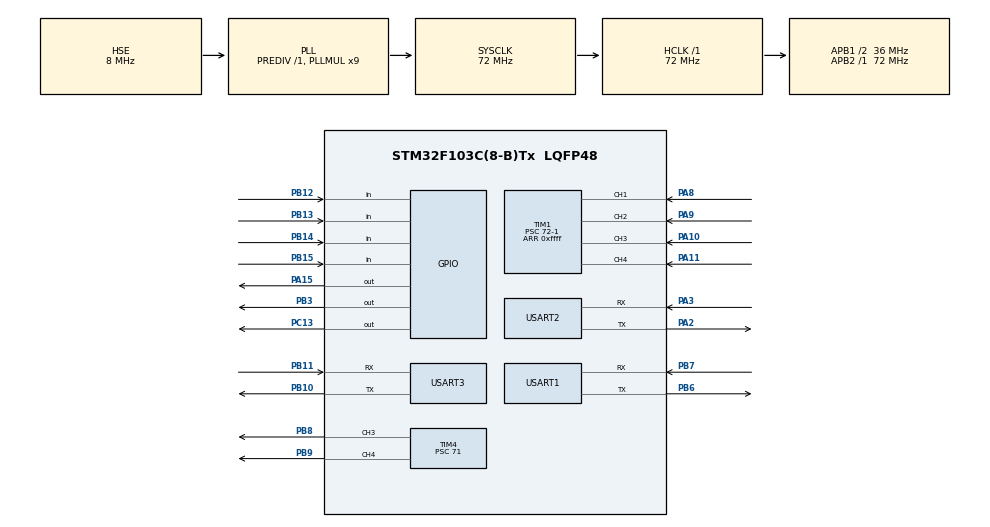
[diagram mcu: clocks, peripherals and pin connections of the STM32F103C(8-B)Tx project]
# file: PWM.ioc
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Dma.Request0=USART2_RX
Dma.Request1=USART2_TX
Dma.USART2_RX.0.Direction=DMA_PERIPH_TO_MEMORY
Dma.USART2_RX.0.Instance=DMA1_Channel6
Dma.USART2_RX.0.MemDataAlignment=DMA_MDATAALIGN_BYTE
Dma.USART2_RX.0.MemInc=DMA_MINC_ENABLE
Dma.USART2_RX.0.Mode=DMA_CIRCULAR
Dma.USART2_RX.0.PeriphDataAlignment=DMA_PDATAALIGN_BYTE
Dma.USART2_RX.0.PeriphInc=DMA_PINC_DISABLE
Dma.USART2_RX.0.Priority=DMA_PRIORITY_LOW
Dma.USART2_TX.1.Direction=DMA_MEMORY_TO_PERIPH
Dma.USART2_TX.1.Instance=DMA1_Channel7
Dma.USART2_TX.1.MemDataAlignment=DMA_MDATAALIGN_BYTE
Dma.USART2_TX.1.MemInc=DMA_MINC_ENABLE
Dma.USART2_TX.1.Mode=DMA_CIRCULAR
Dma.USART2_TX.1.PeriphDataAlignment=DMA_PDATAALIGN_BYTE
Dma.USART2_TX.1.PeriphInc=DMA_PINC_DISABLE
Dma.USART2_TX.1.Priority=DMA_PRIORITY_LOW
Mcu.Family=STM32F1
Mcu.Name=STM32F103C(8-B)Tx
Mcu.Package=LQFP48
NVIC.DMA1_Channel6_IRQn=true\:0\:0\:false\:false\:true\:false\:true\:true
NVIC.DMA1_Channel7_IRQn=true\:0\:0\:false\:false\:true\:false\:true\:true
NVIC.PriorityGroup=NVIC_PRIORITYGROUP_4
NVIC.TIM1_CC_IRQn=true\:1\:0\:true\:false\:true\:true\:true\:true
NVIC.TIM3_IRQn=true\:0\:0\:false\:false\:true\:true\:true\:true
NVIC.TIM4_IRQn=true\:0\:0\:false\:false\:true\:true\:true\:true
NVIC.USART1_IRQn=true\:0\:0\:false\:false\:true\:true\:true\:true
NVIC.USART3_IRQn=true\:0\:0\:false\:false\:true\:true\:true\:true
PA10.GPIO_PuPd=GPIO_PULLDOWN
PA10.Signal=S_TIM1_CH3
PA11.GPIO_PuPd=GPIO_PULLDOWN
PA11.Signal=S_TIM1_CH4
PA13.Mode=Serial_Wire
PA13.Signal=SYS_JTMS-SWDIO
PA14.Mode=Serial_Wire
PA14.Signal=SYS_JTCK-SWCLK
PA15.Signal=GPIO_Output
PA2.Mode=Asynchronous
PA2.Signal=USART2_TX
PA3.Mode=Asynchronous
PA3.Signal=USART2_RX
PA8.GPIO_PuPd=GPIO_PULLDOWN
PA8.Signal=S_TIM1_CH1
PA9.GPIO_PuPd=GPIO_PULLDOWN
PA9.Signal=S_TIM1_CH2
PB10.Mode=Asynchronous
PB10.Signal=USART3_TX
PB11.Mode=Asynchronous
PB11.Signal=USART3_RX
PB12.GPIO_PuPd=GPIO_PULLDOWN
PB12.Signal=GPIO_Input
PB13.GPIO_PuPd=GPIO_PULLDOWN
PB13.Signal=GPIO_Input
PB14.GPIO_PuPd=GPIO_PULLDOWN
PB14.Signal=GPIO_Input
PB15.GPIO_PuPd=GPIO_PULLDOWN
PB15.Signal=GPIO_Input
PB3.Signal=GPIO_Output
PB6.GPIO_Mode=GPIO_MODE_AF_PP
PB6.Mode=Asynchronous
PB6.Signal=USART1_TX
PB7.Mode=Asynchronous
PB7.Signal=USART1_RX
PB8.Signal=S_TIM4_CH3
PB9.Signal=S_TIM4_CH4
PC13-TAMPER-RTC.Signal=GPIO_Output
PD0-OSC_IN.Mode=HSE-External-Oscillator
PD0-OSC_IN.Signal=RCC_OSC_IN
PD1-OSC_OUT.Mode=HSE-External-Oscillator
PD1-OSC_OUT.Signal=RCC_OSC_OUT
ProjectManager.HeapSize=0x200
ProjectManager.StackSize=0x400
ProjectManager.TargetToolchain=MDK-ARM V5.32
RCC.AHBFreq_Value=72000000
RCC.APB1CLKDivider=RCC_HCLK_DIV2
RCC.APB1Freq_Value=36000000
RCC.APB1TimFreq_Value=72000000
RCC.APB2Freq_Value=72000000
RCC.APB2TimFreq_Value=72000000
RCC.HCLKFreq_Value=72000000
RCC.PLLMUL=RCC_PLL_MUL9
RCC.PLLSourceVirtual=RCC_PLLSOURCE_HSE
RCC.SYSCLKFreq_VALUE=72000000
RCC.SYSCLKSource=RCC_SYSCLKSOURCE_PLLCLK
RCC.USBFreq_Value=72000000
SH.S_TIM1_CH1.0=TIM1_CH1,Input_Capture1_from_TI1
SH.S_TIM1_CH2.0=TIM1_CH2,Input_Capture2_from_TI2
SH.S_TIM1_CH3.0=TIM1_CH3,Input_Capture3_from_TI3
SH.S_TIM1_CH4.0=TIM1_CH4,Input_Capture4_from_TI4
SH.S_TIM4_CH3.0=TIM4_CH3,PWM Generation3 CH3
SH.S_TIM4_CH4.0=TIM4_CH4,PWM Generation4 CH4
TIM1.AutoReloadPreload=TIM_AUTORELOAD_PRELOAD_DISABLE
TIM1.Channel-Input_Capture1_from_TI1=TIM_CHANNEL_1
TIM1.Channel-Input_Capture2_from_TI2=TIM_CHANNEL_2
TIM1.Channel-Input_Capture3_from_TI3=TIM_CHANNEL_3
TIM1.Channel-Input_Capture4_from_TI4=TIM_CHANNEL_4
TIM1.Period=0xffff
TIM1.Prescaler=72-1
TIM3.AutoReloadPreload=TIM_AUTORELOAD_PRELOAD_ENABLE
TIM3.Period=1000
TIM3.Prescaler=71
TIM4.AutoReloadPreload=TIM_AUTORELOAD_PRELOAD_ENABLE
TIM4.Channel-PWM\ Generation3\ CH3=TIM_CHANNEL_3
TIM4.Channel-PWM\ Generation4\ CH4=TIM_CHANNEL_4
TIM4.Period=1000
TIM4.Prescaler=71
USART1.VirtualMode=VM_ASYNC
USART2.VirtualMode=VM_ASYNC
USART3.VirtualMode=VM_ASYNC
VP_TIM2_VS_ClockSourceINT.Mode=Internal
VP_TIM3_VS_ClockSourceINT.Mode=Internal
VP_TIM4_VS_ClockSourceINT.Mode=Internal
board=custom

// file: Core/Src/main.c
/* USER CODE BEGIN Header */
/**
  ******************************************************************************
  * @file           : main.c
  * @brief          : Main program body
  ******************************************************************************
  * @attention
  *
  * Copyright (c) 2022 STMicroelectronics.
  * All rights reserved.
  *
  * This software is licensed under terms that can be found in the LICENSE file
  * in the root directory of this software component.
  * If no LICENSE file comes with this software, it is provided AS-IS.
  *
  ******************************************************************************
  */
/* USER CODE END Header */
#include "main.h"
#include "dma.h"
#include "tim.h"
#include "usart.h"
#include "gpio.h"

/* USER CODE BEGIN Includes */
#include"stdio.h"
#include"stdint.h"
#include"string.h"
#include"stdlib.h"
#include"oled.h"
/* USER CODE END Includes */

/* USER CODE BEGIN PD */
uint8_t my_re_buf1[24]={0x00};
uint8_t rx_buf1[1]={0};
uint8_t rx_buf2[1]={0};
uint8_t rx_buf3[1]={0};
uint8_t openmvdata[8]={0x00};
uint8_t data_static2[6]={255,255,255,255,255,255};
volatile uint32_t G_Systime;//定时器中断中计时
int temp=0;
/* USER CODE END PD */

/* USER CODE BEGIN PM */
struct gesture
{
	float angr;//角度
	float angx;
	float angy;
	float w;//角速度
	float v1;//左轮速度
	float v2;//右轮速度
	float x1;//左轮位移
	float x2;//右轮位移
	float x;//总位移
};

struct pidstruct
{
	float kp,ki,kd;
	float p ,i ,d;
	float thisde, lastde;
};  //thisde当前
struct pidstruct initPID(float kp, float ki, float kd, struct pidstruct e)//初始化PID
{
	e.kp=kp;
	e.ki=ki;
	e.kd=kd;
	e.p=0;//有必要时不用初始化给0
	e.i=0;
	e.d=0;
	e.lastde =0;
	e.thisde=0;
	return e;
}
/* USER CODE END PM */

/* USER CODE BEGIN PV */
struct gesture gest;//当前姿态
struct gesture tgest;//目标姿态
struct gesture globalgest;//初始姿态
struct pidstruct angrpid;//角度PID
struct pidstruct angxpid;//x轴角度PID
struct pidstruct angypid;
struct pidstruct angzpid;
struct pidstruct x1pid;//位移PID
struct pidstruct x2pid;
struct pidstruct v1pid;
struct pidstruct v2pid;

float PWM1;
float PWM2;
float PWM;
int En=1;//小车运行停止
int Enflag=1;    //控制轮子停止后反转保证停稳
int Enflag2=1;
int startpid=1;

int mark=0;//小车停稳
//char a[50];
//int count=0;
/* USER CODE END PV */

void SystemClock_Config(void);
/* USER CODE BEGIN PFP */
void SystemClock_Config(void);
void Wheel(int num,int pwm);
void My_Delay_1ms(int t);
int fputc(int ch, FILE *f)
{
	HAL_UART_Transmit(&huart1,(uint8_t*)&ch,1,10);
	return ch;
}

float PID(struct pidstruct *e,float err, float outhigh , float outlow)//返回PID的值 outhigh和outlow是限幅
{
	float out;
	e->thisde=err;
	e->p = e->kp * e->thisde ;
	e->i = e->ki * (e->i+e->lastde );
	e->d = e->kd * (e->thisde -e->lastde );
	e->lastde = e->thisde ;
	out=e->p+e->i +e->d;
	if(out>outhigh ) out=outhigh ;//限幅
	if(out<outlow ) out =outlow ;
	return out;
}

void My_Delay_1ms(int t)
{
	uint32_t InitTime=G_Systime ;
	while(G_Systime <InitTime +t)
	{
	}
}

void Stop()
{
//	if(mark==0)
//	{
//	Wheel(1,-60);
//	Wheel(0,0);
//	My_Delay_1ms(500);
//	mark=1;
//	}
//	if(mark==1)
//	{
//	Wheel(1,0);
//	Wheel(0,0);
//	}
     Wheel(1,-30);
     Wheel(0,10);
//	My_Delay_1ms (500);
//    HAL_GPIO_TogglePin (GPIOC,GPIO_PIN_13);
}

void Move_pid()
{
	float err1,err2,angxerr;
    angxerr =tgest.angx -gest.angx ;
	PWM=PID (&angxpid ,angxerr ,250,-250);
	err1=tgest.v1-gest.v1;
	PWM1=PID(&v1pid,err1,1000,-1000);
	err2=tgest.v2 -gest.v2 ;
	PWM2=PID(&v2pid,err2,1000,-1000);
	Wheel(1,PWM1);
	Wheel(0,PWM2);
	mark=0;//小车停稳标志重置
}
void Delay_stop(int target_delaytime)  //放在定时器中断中1ms进入一次，只能连续使用一次
{
	static int dtime;//dtime是延时停车
    if(mark==0)
	{
        dtime++;
		if(dtime<target_delaytime )
		{
			HAL_GPIO_TogglePin (GPIOC,GPIO_PIN_13);
			Move_pid ();
		}
		else
		{
			mark=1;
			dtime =0;
		}
	}
	if(mark==1)
	{
		Stop();
	}

}

void DataGet1(uint8_t *data)//蓝牙
{
//	int en,i=0;
//	char b[1];
//	b[0]=data[0];
//	en=atoi(b);
//	if(en==0)
//	{
//		i++;
//		En=i%2;
//	}
//	if(En==1)
//	{
//	HAL_GPIO_TogglePin (GPIOC,GPIO_PIN_13);
//	}
	int en;
	static int i;
	en=(int)(data[0]-'0');
	if(en==0)
	{
		i++;
		En=i%2;
		startpid=0;
		Enflag=0;
	}
}
void DataGet2(uint8_t *data)//陀螺仪
{
	static int flag=0;
	if(data[0]==0x55&&flag ==0)
	{
		HAL_UART_Receive_DMA (&huart2 ,rx_buf2 ,11);
		flag=1;
	}
	else if(data [0]!=0x55&&flag==0)
	{
		HAL_UART_Receive_IT (&huart2,rx_buf2 ,1);
	}
	else if(flag==1)
	{
		HAL_UART_Receive_DMA (&huart2,rx_buf2 ,11);
	}

}
void DataGet3(uint8_t *data)//
{
	//printf("%c",data[0]);
	//HAL_GPIO_TogglePin (GPIOC,GPIO_PIN_13);
}
void HAL_UART_RxCpltCallback(UART_HandleTypeDef *huart)//串口中断
{
	if(huart == &huart1)
	{
		DataGet1(rx_buf1);
		HAL_UART_AbortReceive_IT(&huart1);
		HAL_UART_Receive_IT(&huart1, rx_buf1, 1);
	}
	if(huart == &huart2)
	{
		DataGet2(rx_buf2);
		HAL_UART_AbortReceive_IT(&huart2);
		HAL_UART_Receive_IT(&huart2, rx_buf2, 1);
	}
	if(huart == &huart3)
	{
		static  char a[20];
        static  int count=0;

		DataGet3(rx_buf3);
		//printf("a=%c\n",rx_buf3[0]);
		if(rx_buf3[0]=='\n')
		{
			a[count]='\0';
			gest.angx=atof(a);
			count=0;
			a[0]='\0';
		}
		else if(rx_buf3[0]=='a')
		{
			En=0;
		    Enflag=0;
            temp=1;
		  HAL_GPIO_TogglePin (GPIOC,GPIO_PIN_13);
		}
//		else if(rx_buf3[0]=='w')
//		{
//			En=2;
//			Enflag2=0;
//			HAL_GPIO_TogglePin (GPIOC,GPIO_PIN_13);
//		}
		else
		{
			a[count]=rx_buf3[0];
			count++;
		}
		HAL_UART_AbortReceive_IT(&huart3);//继续接受
		HAL_UART_Receive_IT(&huart3, rx_buf3, 1);
	}
}

void HAL_TIM_IC_CaptureCallback(TIM_HandleTypeDef *htim)//输入捕获中断
{

	static float catch1[3],catch2[3];
	//int judge1,judge2;
	if(htim==&htim1&&htim->Channel ==HAL_TIM_ACTIVE_CHANNEL_3)//左轮
	{
		//judge1 =HAL_GPIO_ReadPin (GPIOB,GPIO_PIN_14);
		//printf("judge1=%d\r\n",judge1 );
		catch1[1]=HAL_TIM_ReadCapturedValue (htim,TIM_CHANNEL_3 );
		catch1[2]=catch1[1]-catch1[0];
		if(catch1[2]<=0)
		{
			catch1[2]+=0xffff;
		}

		catch1[0]=catch1[1];

		//if(judge1==1)
		if(HAL_GPIO_ReadPin (GPIOB,GPIO_PIN_14))
		{
			gest.x1+=0.52f;
			gest.v1=644429.2/catch1[2];
			//printf("x1=%f\r\n",gest.x1);

		}
		//else if(judge1==0)
		else
		{
//			HAL_GPIO_TogglePin(GPIOC,GPIO_PIN_13);
			gest.x1-=0.52f;
			gest.v1=-644429.2/catch1[2];
			//printf("x1=%f\r\n",gest.x2);

		}

	}
	if(htim==&htim1&&htim->Channel ==HAL_TIM_ACTIVE_CHANNEL_4)//右轮
	{
		//judge2 =HAL_GPIO_ReadPin (GPIOB,GPIO_PIN_15);
		catch2[1]=HAL_TIM_ReadCapturedValue (htim,TIM_CHANNEL_4 );
		catch2[2]=catch2[1]-catch2[0];
		if(catch2[2]<=0)
		{
			catch2[2]+=0xffff;
		}
		catch2[0]=catch2[1];

		if(HAL_GPIO_ReadPin (GPIOB,GPIO_PIN_15))
		{
			gest.x2-=0.52f;
			gest.v2=-644429.2/catch2[2];
			//printf("v2=%f\r\n",gest.v2);
		}
		else
		{
			gest.x2+=0.52f;
			gest.v2=644429.2/catch2[2];

			//printf("v2=%f\r\n",gest.v2);
		}

	}
     gest.x=(gest.x1+gest.x2)/2;
}

void HAL_TIM_PeriodElapsedCallback(TIM_HandleTypeDef *htim)//定时器中断（1ms） （callback回调函数 谨慎用printf 1ms进一次 不要超过字节）
{
    static int time,stoptime,delaytime;
	static int Enfla1,Enfla2;
	G_Systime++;
	//int i;
//	float err1,err2,angxerr;
//	angxerr =tgest.angx -gest.angx ;
//	PWM=PID (&angxpid ,angxerr ,250,-250);
//	err1=tgest.v1-gest.v1;
//	PWM1=PID(&v1pid,err1,1000,-1000);
//    //Wheel(1,PWM1);
//	err2=tgest.v2 -gest.v2 ;
//	PWM2=PID(&v2pid,err2,1000,-1000);

	if(htim == (&htim4))
	{

		if(En==1)
		{
			if(startpid==0)
			{
			v1pid=initPID(10.5,1,0.01,v1pid);
            v2pid=initPID(11,1,0,v2pid);
            angxpid=initPID(1,0,0,angxpid);
			startpid =1;
            Move_pid ();
			}
		    else
			{
            Move_pid();
			}
		}
	    else if(En==0)
		{
//      //    Stop(En,1000);
//			if(Enfla1==0){
////
////			angxerr =tgest.angx -gest.angx ;
////		   PWM=PID (&angxpid ,angxerr ,250,-250);
////		   err1=tgest.v1-gest.v1;
////		   PWM1=PID(&v1pid,err1,1000,-1000);
////            //Wheel(1,PWM1);
////		   err2=tgest.v2 -gest.v2 ;
////		    PWM2=PID(&v2pid,err2,1000,-1000);
//            Move_pid();
////			Wheel(1,PWM1);
////			Wheel(0,PWM2);
//			delaytime++;
//			}
//		    if(delaytime>=500)
//				{
//                if(Enflag==0)
//				{
//					Enfla1=1;
//					Wheel(1,-60);
//					Wheel(0,0);
//					stoptime++;
//					if(stoptime==500)
//						{
//							stoptime =0;
//							Enflag=1;

//						}
//				}
//			    else
//		        {
//				Wheel(1,0);
//				Wheel(0,0);
//		        }

//	    	}
//      Stop();
			Delay_stop (2000);
		}

		else if(En==2)
		{

			if(Enfla2==0)
			{
			Move_pid();
//			Wheel(1,PWM1);
//			Wheel(0,PWM2);
			delaytime++;
			}
		    if(delaytime>=650)
			{
                if(Enflag2==0)
				{
					Enfla2=1;
					Wheel(1,-60);
					Wheel(0,0);
					stoptime++;
					if(stoptime==400)
						{
							stoptime =0;
							Enflag2=1;

						}
				}
			    else
		        {
				Wheel(1,0);
				Wheel(0,0);
				time++;
				  if(time>=5000)
				  {

			   v1pid=initPID(10.5,1,0.01,v1pid);
               v2pid=initPID(11,1,0,v2pid);
			   angxpid=initPID(1,0,0,angxpid);

			   Move_pid();
//			   Wheel(1,PWM1);
//			   Wheel(0,PWM2);

					  time=0;
                      En=1;
					  delaytime=0;

					  Enfla2=0;
				  }
		        }

	    	}

//			Wheel(1,0);
//			Wheel(0,0);
//			time++;
//		if(time==5000)
//		{
//				En=1;
//				time=0;
//		}
//		}

//			Wheel(1,PWM1);
//			Wheel(0,PWM2);
		//Move(En,PWM1,PWM2);
	}
   }

}

/* USER CODE END PFP */

/* USER CODE BEGIN 0 */

#define LENGTH 4     //接受缓冲区大小
//uint8_t	RxBuffer[LENGTH];   //接受缓冲区
//uint8_t RxFlag = 0;       //接收完成标志；0表示接受未完成，1表示接收完成

/* USER CODE END 0 */

int main(void)
{
  /* USER CODE BEGIN 1 */
//  v1pid=initPID(9,1,0,v1pid);
//  v2pid=initPID(9,1,0,v2pid);

  v1pid=initPID(10.5,1,0.01,v1pid);
  v2pid=initPID(11,1,0,v2pid);
  angxpid=initPID(1,0,0,angxpid);
	  // angxpid=initPID(0.8,0.1,0.001,angxpid);//tgest.v=400
 //angxpid=initPID(1.3,0.12,0.01,angxpid);//tgest.v=800
  //angxpid=initPID(1,0,0,angxpid);//tgest.v=800
//  angypid =initPID (0,0,0,angypid);
  /* USER CODE END 1 */

  /* MCU Configuration--------------------------------------------------------*/

  /* Reset of all peripherals, Initializes the Flash interface and the Systick. */
  HAL_Init();

  /* Configure the system clock */
  SystemClock_Config();

  /* Initialize all configured peripherals */
  MX_GPIO_Init();
  MX_TIM4_Init();
  MX_TIM1_Init();
  MX_USART1_UART_Init();
  MX_DMA_Init();
  MX_TIM2_Init();
  MX_USART2_UART_Init();
  MX_USART3_UART_Init();
  MX_TIM3_Init();
  OLED_Init();
  /* USER CODE BEGIN 2 */
  HAL_GPIO_WritePin(GPIOC,GPIO_PIN_13,GPIO_PIN_SET);
    HAL_UART_Receive_IT (&huart1,rx_buf1 ,1);//串口 IT中断
    HAL_UART_Receive_IT (&huart2,rx_buf2 ,1);
	HAL_UART_Receive_IT (&huart3,rx_buf3 ,1);

//    HAL_TIM_Base_Start_IT (&htim4);//定时器中断初始化

	HAL_TIM_PWM_Start(&htim4,TIM_CHANNEL_3);//pwm
	HAL_TIM_PWM_Start(&htim4,TIM_CHANNEL_4);

    HAL_TIM_IC_Start_IT (&htim1,TIM_CHANNEL_3 );//输入捕获
	HAL_TIM_IC_Start_IT (&htim1,TIM_CHANNEL_4 );
	HAL_TIM_Base_Start_IT (&htim4);//定时器中断初始化
	HAL_TIM_Base_Start_IT (&htim3);//定时器中断初始化
//HAL_UART_Transmit_DMA (&huart1,"Uart System Init\r\n",sizeof ("Uart System Init\r\n"));
//HAL_UART_Receive_DMA(&huart1,buf,3);
	//HAL_UART_Receive_DMA (&huart2 ,rx_buf2 ,11); //一次11个满了进中断

  /* USER CODE END 2 */

  /* Infinite loop */
  /* USER CODE BEGIN WHILE */
  while (1)
  {
	tgest.angx =0;
	tgest.v1=400+PWM;
	tgest.v2 =400-PWM;

//	 OLED_ShowString(40,0,"MPU6050",16);
//	if(En==1)
//	{
//	tgest.v1=800+PWM;
//	tgest.v2 =800-PWM;
//	}
//	else
//	{
//	tgest.v1=0;
//	tgest.v2=0;
//	}
////	Wheel(1,1000);
////	Wheel(0,1000);
 //   printf("a=%c\n",rx_buf3[0]);
//	printf("gest.angr=%f\r\n",);
//	printf("--------------------\n");
//	printf("PWM1=%f\r\n",PWM1);
//	printf("PWM2=%f\r\n",PWM2);
//	printf("v1=%f\r\n",gest.v1);
//	printf("v2=%f\r\n",gest.v2);
 printf("%f,%f,%.2f\n",gest.v1,gest.v2,gest.angx);
//	printf("%f\n",gest.angx);
//	printf("%d\n",temp);
//	printf("%c",temp1[0]);
  //  printf("%f",PWM);
//	    printf("v1=%f\r\n",gest.v1);
//	    printf("PWM1=%f\r\n",PWM1 );
//		err2=tgest.v2 -gest.v2 ;
//		PWM2=PID(&v2pid,err2,1000,-1000);
//		Wheel(0,PWM2);
//	  	HAL_GPIO_TogglePin (GPIOC,GPIO_PIN_13);
       // printf("PWM2=%f\r\n",PWM2);
	  //	printf("v2=%f\r\n",gest.v2);

    /* USER CODE END WHILE */

    /* USER CODE BEGIN 3 */
//	  	__HAL_TIM_SET_COMPARE(&htim4,TIM_CHANNEL_3,500);
//		__HAL_TIM_SET_COMPARE(&htim4,TIM_CHANNEL_4,500);
//		HAL_GPIO_WritePin(GPIOB,GPIO_PIN_3,0);
//		HAL_GPIO_WritePin(GPIOA,GPIO_PIN_15,1);

//
//	for(i=-1000;i<=1000;i++)
//	  {
//	  Wheel(1,i);
//	  HAL_Delay(20);
//	  }
//
//        HAL_UART_Transmit(&huart1, (uint8_t *)"hello windows!!!\r\n", 16 , HAL_MAX_DELAY);
//        HAL_Delay(1000);
//	  if(RxFlag == 1)
//	  {
//		   HAL_UART_Transmit(&huart1,(uint8_t *)"Recevie Success!\n",17,HAL_MAX_DELAY);
//		   break;
//	  }

//	 Wheel(1,500);
//	 Wheel(0,500);
   }

  /* USER CODE END 3 */
}

void SystemClock_Config(void)
{
  RCC_OscInitTypeDef RCC_OscInitStruct = {0};
  RCC_ClkInitTypeDef RCC_ClkInitStruct = {0};

  /** Initializes the RCC Oscillators according to the specified parameters
  * in the RCC_OscInitTypeDef structure.
  */
  RCC_OscInitStruct.OscillatorType = RCC_OSCILLATORTYPE_HSE;
  RCC_OscInitStruct.HSEState = RCC_HSE_ON;
  RCC_OscInitStruct.HSEPredivValue = RCC_HSE_PREDIV_DIV1;
  RCC_OscInitStruct.HSIState = RCC_HSI_ON;
  RCC_OscInitStruct.PLL.PLLState = RCC_PLL_ON;
  RCC_OscInitStruct.PLL.PLLSource = RCC_PLLSOURCE_HSE;
  RCC_OscInitStruct.PLL.PLLMUL = RCC_PLL_MUL9;
  if (HAL_RCC_OscConfig(&RCC_OscInitStruct) != HAL_OK)
  {
    Error_Handler();
  }

  /** Initializes the CPU, AHB and APB buses clocks
  */
  RCC_ClkInitStruct.ClockType = RCC_CLOCKTYPE_HCLK|RCC_CLOCKTYPE_SYSCLK
                              |RCC_CLOCKTYPE_PCLK1|RCC_CLOCKTYPE_PCLK2;
  RCC_ClkInitStruct.SYSCLKSource = RCC_SYSCLKSOURCE_PLLCLK;
  RCC_ClkInitStruct.AHBCLKDivider = RCC_SYSCLK_DIV1;
  RCC_ClkInitStruct.APB1CLKDivider = RCC_HCLK_DIV2;
  RCC_ClkInitStruct.APB2CLKDivider = RCC_HCLK_DIV1;

  if (HAL_RCC_ClockConfig(&RCC_ClkInitStruct, FLASH_LATENCY_2) != HAL_OK)
  {
    Error_Handler();
  }
}

/* USER CODE BEGIN 4 */

void Wheel(int num,int pwm)
{
	int direct;
	if(pwm>1000)
	{
		pwm=1000;
	}
	if(pwm<-1000)
	{
		pwm=-1000;
	}
	if(pwm>=0)
	{
		direct=1;
	}
	else
	{
		direct=0;
	}
	switch(num){
		case 1:
		switch(direct){
		    case 1:
			__HAL_TIM_SET_COMPARE(&htim4,TIM_CHANNEL_3,pwm);
			HAL_GPIO_WritePin(GPIOB,GPIO_PIN_3,GPIO_PIN_RESET);
			break;
		    case 0:
			__HAL_TIM_SET_COMPARE(&htim4,TIM_CHANNEL_3,1000+pwm);
			HAL_GPIO_WritePin(GPIOB,GPIO_PIN_3,GPIO_PIN_SET);
			break;
	      }
	     break;
		case 0:
			switch(direct){
			case 1:
			__HAL_TIM_SET_COMPARE(&htim4,TIM_CHANNEL_4,1000-pwm);
			HAL_GPIO_WritePin(GPIOA,GPIO_PIN_15,GPIO_PIN_SET);
				break;
			case 0:
			__HAL_TIM_SET_COMPARE(&htim4,TIM_CHANNEL_4,-pwm);
			HAL_GPIO_WritePin(GPIOA,GPIO_PIN_15,GPIO_PIN_RESET);
				break;

            }
	      break;
		}
}
//void HAL_UART_RxCpltCallback(UART_HandleTypeDef *huart)  //串口接收中断回调函数
//{
//	if(huart->Instance == USART1)   //判断发生接收中断的串口
//	{
//		RxFlag=1;   //置为接收完成标志
//	}
//}

/* USER CODE END 4 */

void Error_Handler(void)
{
  __disable_irq();
  while (1)
  {
  }
}
